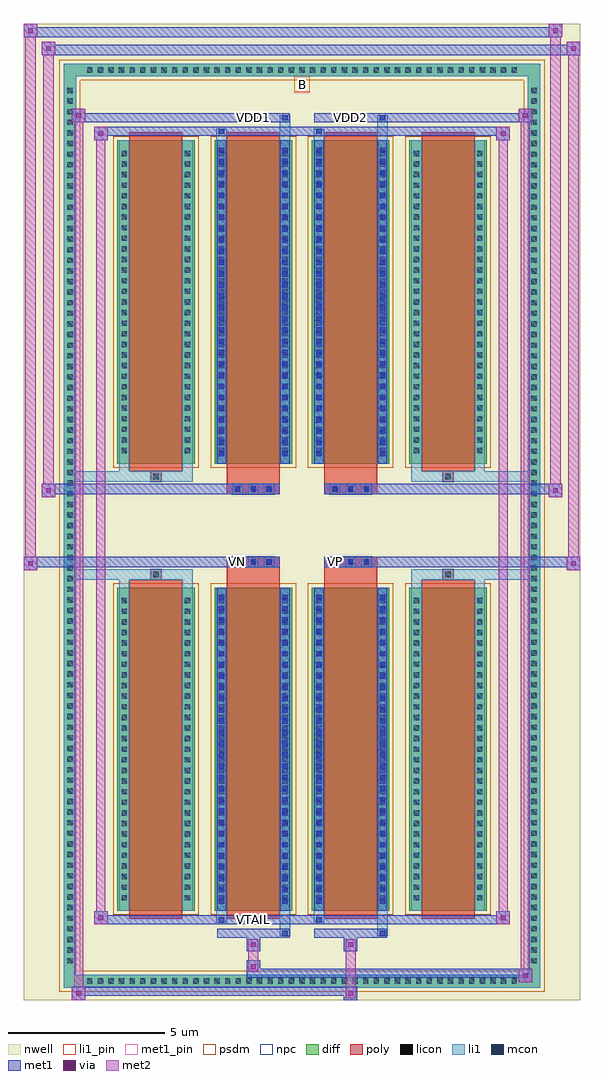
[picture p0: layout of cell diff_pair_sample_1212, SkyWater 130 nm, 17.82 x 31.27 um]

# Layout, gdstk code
import gdstk
lib = gdstk.Library(unit=1e-6, precision=5e-09)
def R(c, l, rs):  # rectangles x0, y0, x1, y1
    for r in rs: c.add(gdstk.rectangle(r[:2], r[2:], *l))
def A(c, l, x, y, w, h, nx, ny, dx, dy):  # array of equal rectangles
    R(c, l, [(x+i*dx, y+j*dy, x+i*dx+w, y+j*dy+h) for i in range(nx) for j in range(ny)])
def P(c, l, *ps):  # polygons
    for p in ps: c.add(gdstk.Polygon(p, *l))
nwell = (64, 20)
diff = (65, 20)
poly = (66, 20)
licon = (66, 44)
li1_pin = (67, 16)
li1 = (67, 20)
mcon = (67, 44)
met1_pin = (68, 16)
met1 = (68, 20)
via = (68, 44)
met2 = (69, 20)
psdm = (94, 20)
npc = (95, 20)

diff_pair_sample_1212 = lib.new_cell('diff_pair_sample_1212')
R(diff_pair_sample_1212, nwell, [(-8.91,-15.2,8.91,16.07), (-6.23,-13.39,-0.01,-0.805), (0.01,-13.39,6.23,-0.805), (-6.23,0.805,-0.01,13.39), (0.01,0.805,6.23,13.39)])
A(diff_pair_sample_1212, diff, -7.005, -14.8, 0.41, 0.41, 41, 2, 0.34, 29.19)
A(diff_pair_sample_1212, diff, -7.64, -14.145, 0.41, 0.41, 1, 83, 0, 0.34)
A(diff_pair_sample_1212, diff, 7.23, -14.145, 0.41, 0.41, 1, 83, 0, 0.34)
A(diff_pair_sample_1212, diff, -5.92, -12.345, 2.48, 10.36, 4, 2, 3.12, 14.33)
R(diff_pair_sample_1212, diff, [(-7.005,-14.8,7.005,-14.39), (-7.64,-14.145,-7.23,14.145), (7.23,-14.145,7.64,14.145), (-7.005,14.39,7.005,14.8)])
P(diff_pair_sample_1212, diff, [(7.64,14.8),(-7.64,14.8),(-7.64,-14.39),(-7.23,-14.39),(-7.23,14.39),(7.23,14.39),(7.23,-14.39),(-7.23,-14.39),(-7.64,-14.39),(-7.64,-14.8),(7.64,-14.8)])
A(diff_pair_sample_1212, poly, -5.53, -12.595, 1.7, 10.86, 4, 2, 3.12, 14.33)
A(diff_pair_sample_1212, poly, -2.225, -1.335, 0.33, 0.33, 3, 2, 0.5, 2.34)
A(diff_pair_sample_1212, poly, 0.895, -1.335, 0.33, 0.33, 3, 2, 0.5, 2.34)
R(diff_pair_sample_1212, poly, [(-4.845,-1.735,-4.515,-1.405), (-4.845,-1.735,-4.515,-1.405), (-2.41,-1.735,-0.71,-1.335), (0.71,-1.735,2.41,-1.335), (4.515,-1.735,4.845,-1.405), (4.515,-1.735,4.845,-1.405), (-2.41,-1.335,-0.71,-1.005), (0.71,-1.335,2.41,-1.005), (-2.41,1.005,-0.71,1.335), (0.71,1.005,2.41,1.335), (-2.41,1.335,-0.71,1.735), (0.71,1.335,2.41,1.735), (-4.845,1.405,-4.515,1.735), (-4.845,1.405,-4.515,1.735), (4.515,1.405,4.845,1.735), (4.515,1.405,4.845,1.735)])
A(diff_pair_sample_1212, licon, -6.885, -14.68, 0.17, 0.17, 41, 2, 0.34, 29.19)
A(diff_pair_sample_1212, licon, -7.52, -14.025, 0.17, 0.17, 1, 83, 0, 0.34)
A(diff_pair_sample_1212, licon, 7.35, -14.025, 0.17, 0.17, 1, 83, 0, 0.34)
A(diff_pair_sample_1212, licon, -5.78, -12.01, 0.17, 0.17, 1, 29, 0, 0.34)
A(diff_pair_sample_1212, licon, -3.75, -12.01, 0.17, 0.17, 1, 29, 0, 0.34)
A(diff_pair_sample_1212, licon, -2.66, -12.01, 0.17, 0.17, 1, 29, 0, 0.34)
A(diff_pair_sample_1212, licon, -0.63, -12.01, 0.17, 0.17, 1, 29, 0, 0.34)
A(diff_pair_sample_1212, licon, 0.46, -12.01, 0.17, 0.17, 1, 29, 0, 0.34)
A(diff_pair_sample_1212, licon, 2.49, -12.01, 0.17, 0.17, 1, 29, 0, 0.34)
A(diff_pair_sample_1212, licon, 3.58, -12.01, 0.17, 0.17, 1, 29, 0, 0.34)
A(diff_pair_sample_1212, licon, 5.61, -12.01, 0.17, 0.17, 1, 29, 0, 0.34)
A(diff_pair_sample_1212, licon, -2.145, -1.255, 0.17, 0.17, 3, 2, 0.5, 2.34)
A(diff_pair_sample_1212, licon, 0.975, -1.255, 0.17, 0.17, 3, 2, 0.5, 2.34)
A(diff_pair_sample_1212, licon, -5.78, 2.32, 0.17, 0.17, 1, 29, 0, 0.34)
A(diff_pair_sample_1212, licon, -3.75, 2.32, 0.17, 0.17, 1, 29, 0, 0.34)
A(diff_pair_sample_1212, licon, -2.66, 2.32, 0.17, 0.17, 1, 29, 0, 0.34)
A(diff_pair_sample_1212, licon, -0.63, 2.32, 0.17, 0.17, 1, 29, 0, 0.34)
A(diff_pair_sample_1212, licon, 0.46, 2.32, 0.17, 0.17, 1, 29, 0, 0.34)
A(diff_pair_sample_1212, licon, 2.49, 2.32, 0.17, 0.17, 1, 29, 0, 0.34)
A(diff_pair_sample_1212, licon, 3.58, 2.32, 0.17, 0.17, 1, 29, 0, 0.34)
A(diff_pair_sample_1212, licon, 5.61, 2.32, 0.17, 0.17, 1, 29, 0, 0.34)
R(diff_pair_sample_1212, licon, [(-4.765,-1.655,-4.595,-1.485), (4.595,-1.655,4.765,-1.485), (-4.765,1.485,-4.595,1.655), (4.595,1.485,4.765,1.655)])
R(diff_pair_sample_1212, li1_pin, [(-0.25,13.89,0.25,14.39)])
A(diff_pair_sample_1212, li1, -6.965, -14.76, 0.33, 0.33, 41, 2, 0.34, 29.19)
A(diff_pair_sample_1212, li1, -7.6, -14.105, 0.33, 0.33, 1, 83, 0, 0.34)
A(diff_pair_sample_1212, li1, 7.27, -14.105, 0.33, 0.33, 1, 83, 0, 0.34)
A(diff_pair_sample_1212, li1, -2.66, -12.11, 0.17, 0.17, 1, 28, 0, 0.36)
A(diff_pair_sample_1212, li1, -0.63, -12.11, 0.17, 0.17, 1, 28, 0, 0.36)
A(diff_pair_sample_1212, li1, 0.46, -12.11, 0.17, 0.17, 1, 28, 0, 0.36)
A(diff_pair_sample_1212, li1, 2.49, -12.11, 0.17, 0.17, 1, 28, 0, 0.36)
A(diff_pair_sample_1212, li1, -5.86, -12.09, 0.33, 0.33, 1, 29, 0, 0.34)
A(diff_pair_sample_1212, li1, -3.83, -12.09, 0.33, 0.33, 1, 29, 0, 0.34)
A(diff_pair_sample_1212, li1, -2.74, -12.09, 0.33, 0.33, 1, 29, 0, 0.34)
A(diff_pair_sample_1212, li1, -0.71, -12.09, 0.33, 0.33, 1, 29, 0, 0.34)
A(diff_pair_sample_1212, li1, 0.38, -12.09, 0.33, 0.33, 1, 29, 0, 0.34)
A(diff_pair_sample_1212, li1, 2.41, -12.09, 0.33, 0.33, 1, 29, 0, 0.34)
A(diff_pair_sample_1212, li1, 3.5, -12.09, 0.33, 0.33, 1, 29, 0, 0.34)
A(diff_pair_sample_1212, li1, 5.53, -12.09, 0.33, 0.33, 1, 29, 0, 0.34)
A(diff_pair_sample_1212, li1, -2.225, -1.335, 0.33, 0.33, 3, 2, 0.5, 2.34)
A(diff_pair_sample_1212, li1, 0.895, -1.335, 0.33, 0.33, 3, 2, 0.5, 2.34)
A(diff_pair_sample_1212, li1, -2.66, 2.22, 0.17, 0.17, 1, 28, 0, 0.36)
A(diff_pair_sample_1212, li1, -0.63, 2.22, 0.17, 0.17, 1, 28, 0, 0.36)
A(diff_pair_sample_1212, li1, 0.46, 2.22, 0.17, 0.17, 1, 28, 0, 0.36)
A(diff_pair_sample_1212, li1, 2.49, 2.22, 0.17, 0.17, 1, 28, 0, 0.36)
A(diff_pair_sample_1212, li1, -5.86, 2.24, 0.33, 0.33, 1, 29, 0, 0.34)
A(diff_pair_sample_1212, li1, -3.83, 2.24, 0.33, 0.33, 1, 29, 0, 0.34)
A(diff_pair_sample_1212, li1, -2.74, 2.24, 0.33, 0.33, 1, 29, 0, 0.34)
A(diff_pair_sample_1212, li1, -0.71, 2.24, 0.33, 0.33, 1, 29, 0, 0.34)
A(diff_pair_sample_1212, li1, 0.38, 2.24, 0.33, 0.33, 1, 29, 0, 0.34)
A(diff_pair_sample_1212, li1, 2.41, 2.24, 0.33, 0.33, 1, 29, 0, 0.34)
A(diff_pair_sample_1212, li1, 3.5, 2.24, 0.33, 0.33, 1, 29, 0, 0.34)
A(diff_pair_sample_1212, li1, 5.53, 2.24, 0.33, 0.33, 1, 29, 0, 0.34)
R(diff_pair_sample_1212, li1, [(-7.64,-14.8,-7.23,-14.39), (-7.64,-14.8,-7.23,-14.39), (-7.23,-14.8,7.23,-14.39), (7.23,-14.8,7.64,-14.39), (7.23,-14.8,7.64,-14.39), (-7.64,-14.39,-7.23,14.39), (7.23,-14.39,7.64,14.39), (-0.71,-13.15,-0.38,-12.345), (-0.63,-13.15,-0.46,-12.98), (2.41,-13.15,2.74,-12.345), (2.49,-13.15,2.66,-12.98), (-2.74,-12.72,-2.41,-12.345), (-2.66,-12.72,-2.49,-12.55), (0.38,-12.72,0.71,-12.345), (0.46,-12.72,0.63,-12.55), (-5.86,-12.345,-5.53,-1.985), (-3.83,-12.345,-3.5,-1.985), (-2.74,-12.345,-2.41,-1.985), (-0.71,-12.345,-0.38,-1.985), (0.38,-12.345,0.71,-1.985), (2.41,-12.345,2.74,-1.985), (3.5,-12.345,3.83,-1.985), (5.53,-12.345,5.86,-1.985), (-2.66,-12.11,-2.49,-2.22), (-0.63,-12.11,-0.46,-2.22), (0.46,-12.11,0.63,-2.22), (2.49,-12.11,2.66,-2.22), (-5.86,-1.985,-5.53,-1.405), (-3.83,-1.985,-3.5,-1.405), (3.5,-1.985,3.83,-1.405), (5.53,-1.985,5.86,-1.405), (-7.64,-1.735,-4.845,-1.405), (-5.86,-1.735,-4.845,-1.405), (-4.845,-1.735,-4.515,-1.405), (-4.515,-1.735,-3.5,-1.405), (3.5,-1.735,4.515,-1.405), (4.515,-1.735,4.845,-1.405), (4.515,-1.735,7.64,-1.405), (4.845,-1.735,5.86,-1.405), (-7.64,1.405,-4.845,1.735), (-5.86,1.405,-4.845,1.735), (-5.86,1.405,-5.53,1.985), (-4.845,1.405,-4.515,1.735), (-4.515,1.405,-3.5,1.735), (-3.83,1.405,-3.5,1.985), (3.5,1.405,4.515,1.735), (3.5,1.405,3.83,1.985), (4.515,1.405,4.845,1.735), (4.515,1.405,7.64,1.735), (4.845,1.405,5.86,1.735), (5.53,1.405,5.86,1.985), (-5.86,1.985,-5.53,12.345), (-3.83,1.985,-3.5,12.345), (-2.74,1.985,-2.41,12.345), (-0.71,1.985,-0.38,12.345), (0.38,1.985,0.71,12.345), (2.41,1.985,2.74,12.345), (3.5,1.985,3.83,12.345), (5.53,1.985,5.86,12.345), (-2.66,2.22,-2.49,12.11), (-0.63,2.22,-0.46,12.11), (0.46,2.22,0.63,12.11), (2.49,2.22,2.66,12.11), (-2.74,12.345,-2.41,12.72), (-0.71,12.345,-0.38,13.15), (0.38,12.345,0.71,12.72), (2.41,12.345,2.74,13.15), (-2.66,12.55,-2.49,12.72), (0.46,12.55,0.63,12.72), (-0.63,12.98,-0.46,13.15), (2.49,12.98,2.66,13.15), (-7.64,14.39,-7.23,14.8), (-7.64,14.39,-7.23,14.8), (-7.23,14.39,7.23,14.8), (7.23,14.39,7.64,14.8), (7.23,14.39,7.64,14.8)])
A(diff_pair_sample_1212, mcon, -2.66, -12.11, 0.17, 0.17, 1, 28, 0, 0.36)
A(diff_pair_sample_1212, mcon, -0.63, -12.11, 0.17, 0.17, 1, 28, 0, 0.36)
A(diff_pair_sample_1212, mcon, 0.46, -12.11, 0.17, 0.17, 1, 28, 0, 0.36)
A(diff_pair_sample_1212, mcon, 2.49, -12.11, 0.17, 0.17, 1, 28, 0, 0.36)
A(diff_pair_sample_1212, mcon, -2.145, -1.255, 0.17, 0.17, 3, 2, 0.5, 2.34)
A(diff_pair_sample_1212, mcon, 0.975, -1.255, 0.17, 0.17, 3, 2, 0.5, 2.34)
A(diff_pair_sample_1212, mcon, -2.66, 2.22, 0.17, 0.17, 1, 28, 0, 0.36)
A(diff_pair_sample_1212, mcon, -0.63, 2.22, 0.17, 0.17, 1, 28, 0, 0.36)
A(diff_pair_sample_1212, mcon, 0.46, 2.22, 0.17, 0.17, 1, 28, 0, 0.36)
A(diff_pair_sample_1212, mcon, 2.49, 2.22, 0.17, 0.17, 1, 28, 0, 0.36)
R(diff_pair_sample_1212, mcon, [(-0.63,-13.15,-0.46,-12.98), (2.49,-13.15,2.66,-12.98), (-2.66,-12.72,-2.49,-12.55), (0.46,-12.72,0.63,-12.55), (-2.66,12.55,-2.49,12.72), (0.46,12.55,0.63,12.72), (-0.63,12.98,-0.46,13.15), (2.49,12.98,2.66,13.15)])
R(diff_pair_sample_1212, met1_pin, [(-1.695,-12.76,-1.425,-12.49), (-2.195,-1.295,-1.925,-1.025), (0.925,-1.295,1.195,-1.025), (-1.695,12.94,-1.425,13.21), (1.425,12.94,1.695,13.21)])
A(diff_pair_sample_1212, met1, -2.72, -12.17, 0.29, 0.29, 1, 28, 0, 0.36)
A(diff_pair_sample_1212, met1, -0.69, -12.17, 0.29, 0.29, 1, 28, 0, 0.36)
A(diff_pair_sample_1212, met1, 0.4, -12.17, 0.29, 0.29, 1, 28, 0, 0.36)
A(diff_pair_sample_1212, met1, 2.43, -12.17, 0.29, 0.29, 1, 28, 0, 0.36)
A(diff_pair_sample_1212, met1, -2.205, -1.315, 0.29, 0.29, 3, 2, 0.5, 2.34)
A(diff_pair_sample_1212, met1, 0.915, -1.315, 0.29, 0.29, 3, 2, 0.5, 2.34)
A(diff_pair_sample_1212, met1, -2.72, 2.16, 0.29, 0.29, 1, 28, 0, 0.36)
A(diff_pair_sample_1212, met1, -0.69, 2.16, 0.29, 0.29, 1, 28, 0, 0.36)
A(diff_pair_sample_1212, met1, 0.4, 2.16, 0.29, 0.29, 1, 28, 0, 0.36)
A(diff_pair_sample_1212, met1, 2.43, 2.16, 0.29, 0.29, 1, 28, 0, 0.36)
R(diff_pair_sample_1212, met1, [(-7.37,-15.2,-6.94,-14.77), (1.345,-15.2,1.775,-14.77), (-7.37,-15.06,1.775,-14.77), (6.94,-14.63,7.37,-14.2), (-1.775,-14.49,7.37,-14.2), (-1.775,-14.35,-1.345,-13.92), (-1.775,-13.64,-1.345,-13.21), (1.345,-13.64,1.775,-13.21), (-2.72,-13.21,-0.4,-12.92), (-0.69,-13.21,-0.4,-12.92), (0.4,-13.21,2.72,-12.92), (2.43,-13.21,2.72,-12.92), (-6.66,-12.78,-6.23,-12.35), (-6.66,-12.78,-2.72,-12.49), (-2.72,-12.78,-2.43,-12.49), (-2.72,-12.78,-0.4,-12.49), (-0.4,-12.78,0.4,-12.49), (0.4,-12.78,0.69,-12.49), (0.4,-12.78,2.72,-12.49), (2.72,-12.78,6.66,-12.49), (6.23,-12.78,6.66,-12.35), (-2.72,-12.345,-2.43,-1.985), (-0.69,-12.345,-0.4,-1.985), (0.4,-12.345,0.69,-1.985), (2.43,-12.345,2.72,-1.985), (-8.91,-1.435,-8.48,-1.005), (8.48,-1.435,8.91,-1.005), (-8.91,-1.335,-0.71,-1.005), (-2.41,-1.335,-0.71,-1.005), (0.71,-1.335,2.41,-1.005), (0.71,-1.335,8.91,-1.005), (-8.34,0.905,-7.91,1.335), (7.91,0.905,8.34,1.335), (-8.34,1.005,-2.41,1.335), (-2.41,1.005,-0.71,1.335), (0.71,1.005,2.41,1.335), (2.41,1.005,8.34,1.335), (-2.72,1.985,-2.43,12.345), (-0.69,1.985,-0.4,12.345), (0.4,1.985,0.69,12.345), (2.43,1.985,2.72,12.345), (-6.66,12.35,-6.23,12.78), (6.23,12.35,6.66,12.78), (-6.66,12.49,-2.72,12.78), (-2.72,12.49,-2.43,12.78), (-2.72,12.49,-0.4,12.78), (-0.4,12.49,0.4,12.78), (0.4,12.49,0.69,12.78), (0.4,12.49,2.72,12.78), (2.72,12.49,6.66,12.78), (-7.37,12.92,-6.94,13.35), (-7.37,12.92,-2.72,13.21), (-2.72,12.92,-0.4,13.21), (-0.69,12.92,-0.4,13.21), (0.4,12.92,2.72,13.21), (2.43,12.92,2.72,13.21), (2.72,12.92,7.37,13.21), (6.94,12.92,7.37,13.35), (-8.34,15.07,-7.91,15.5), (-8.34,15.07,-6.23,15.4), (-6.23,15.07,6.23,15.4), (6.23,15.07,8.91,15.4), (8.48,15.07,8.91,15.5), (-8.91,15.64,-8.48,16.07), (-8.91,15.64,-6.23,15.97), (-6.23,15.64,6.23,15.97), (6.23,15.64,8.34,15.97), (7.91,15.64,8.34,16.07)])
R(diff_pair_sample_1212, via, [(-7.23,-15.06,-7.08,-14.91), (1.485,-15.06,1.635,-14.91), (7.08,-14.49,7.23,-14.34), (-1.635,-14.21,-1.485,-14.06), (-1.635,-13.5,-1.485,-13.35), (1.485,-13.5,1.635,-13.35), (-6.52,-12.64,-6.37,-12.49), (6.37,-12.64,6.52,-12.49), (-8.77,-1.295,-8.62,-1.145), (8.62,-1.295,8.77,-1.145), (-8.2,1.045,-8.05,1.195), (8.05,1.045,8.2,1.195), (-6.52,12.49,-6.37,12.64), (6.37,12.49,6.52,12.64), (-7.23,13.06,-7.08,13.21), (7.08,13.06,7.23,13.21), (-8.2,15.21,-8.05,15.36), (8.62,15.21,8.77,15.36), (-8.77,15.78,-8.62,15.93), (8.05,15.78,8.2,15.93)])
R(diff_pair_sample_1212, met2, [(-7.37,-15.2,-6.94,-14.77), (-7.3,-15.2,-7.01,13.35), (-7.01,-15.2,-6.94,-14.77), (-7.32,-15.15,-6.99,-14.82), (1.395,-15.15,1.725,-14.82), (1.395,-14.82,1.725,-13.59), (6.94,-14.63,7.37,-14.2), (7.01,-14.63,7.3,13.35), (7.3,-14.63,7.37,-14.2), (6.99,-14.58,7.32,-14.25), (-1.725,-14.3,-1.395,-13.97), (-1.725,-13.97,-1.395,-13.59), (-1.725,-13.59,-1.395,-13.26), (1.395,-13.59,1.725,-13.26), (-6.66,-12.78,-6.23,-12.35), (-6.59,-12.78,-6.3,12.78), (-6.3,-12.78,-6.23,-12.35), (6.23,-12.78,6.66,-12.35), (6.3,-12.78,6.59,12.78), (6.59,-12.78,6.66,-12.35), (-6.61,-12.73,-6.28,-12.4), (6.28,-12.73,6.61,-12.4), (-8.91,-1.435,-8.48,-1.005), (-8.86,-1.435,-8.53,16.07), (-8.53,-1.435,-8.48,-1.005), (8.48,-1.435,8.91,-1.005), (8.53,-1.435,8.86,15.5), (8.86,-1.435,8.91,-1.005), (-8.86,-1.385,-8.53,-1.055), (8.53,-1.385,8.86,-1.055), (-8.34,0.905,-7.91,1.335), (-8.29,0.905,-7.96,15.5), (-7.96,0.905,-7.91,1.335), (7.91,0.905,8.34,1.335), (7.96,0.905,8.29,16.07), (8.29,0.905,8.34,1.335), (-8.29,0.955,-7.96,1.285), (7.96,0.955,8.29,1.285), (-6.66,12.35,-6.23,12.78), (-6.3,12.35,-6.23,12.78), (6.23,12.35,6.66,12.78), (6.59,12.35,6.66,12.78), (-6.61,12.4,-6.28,12.73), (6.28,12.4,6.61,12.73), (-7.37,12.92,-6.94,13.35), (-7.01,12.92,-6.94,13.35), (6.94,12.92,7.37,13.35), (7.3,12.92,7.37,13.35), (-7.32,12.97,-6.99,13.3), (6.99,12.97,7.32,13.3), (-8.34,15.07,-7.91,15.5), (-7.96,15.07,-7.91,15.5), (8.48,15.07,8.91,15.5), (8.86,15.07,8.91,15.5), (-8.29,15.12,-7.96,15.45), (8.53,15.12,8.86,15.45), (-8.91,15.64,-8.48,16.07), (-8.53,15.64,-8.48,16.07), (7.91,15.64,8.34,16.07), (8.29,15.64,8.34,16.07), (-8.86,15.69,-8.53,16.02), (7.96,15.69,8.29,16.02)])
A(diff_pair_sample_1212, psdm, -6.05, -12.475, 2.74, 10.62, 4, 2, 3.12, 14.33)
P(diff_pair_sample_1212, psdm, [(7.77,14.93),(-7.77,14.93),(-7.77,-14.26),(-7.1,-14.26),(-7.1,14.26),(7.1,14.26),(7.1,-14.26),(-7.1,-14.26),(-7.77,-14.26),(-7.77,-14.93),(7.77,-14.93)])
A(diff_pair_sample_1212, npc, -2.245, -1.355, 0.37, 0.37, 3, 2, 0.5, 2.34)
A(diff_pair_sample_1212, npc, 0.875, -1.355, 0.37, 0.37, 3, 2, 0.5, 2.34)
R(diff_pair_sample_1212, npc, [(-4.865,-1.755,-4.495,-1.385), (4.495,-1.755,4.865,-1.385), (-2.245,-1.355,-1.375,-0.985), (-2.245,-1.355,-1.375,-0.985), (-1.745,-1.355,-0.875,-0.985), (-1.745,-1.355,-0.875,-0.985), (0.875,-1.355,1.745,-0.985), (0.875,-1.355,1.745,-0.985), (1.375,-1.355,2.245,-0.985), (1.375,-1.355,2.245,-0.985), (-2.245,0.985,-1.375,1.355), (-2.245,0.985,-1.375,1.355), (-1.745,0.985,-0.875,1.355), (-1.745,0.985,-0.875,1.355), (0.875,0.985,1.745,1.355), (0.875,0.985,1.745,1.355), (1.375,0.985,2.245,1.355), (1.375,0.985,2.245,1.355), (-4.865,1.385,-4.495,1.755), (4.495,1.385,4.865,1.755)])
diff_pair_sample_1212.add(gdstk.Label('VTAIL', (-1.56,-12.625), layer=68, texttype=5))
diff_pair_sample_1212.add(gdstk.Label('VN', (-2.06,-1.16), layer=68, texttype=5))
diff_pair_sample_1212.add(gdstk.Label('VP', (1.06,-1.16), layer=68, texttype=5))
diff_pair_sample_1212.add(gdstk.Label('B', (0,14.14), layer=67, texttype=5))
diff_pair_sample_1212.add(gdstk.Label('VDD2', (1.56,13.075), layer=68, texttype=5))
diff_pair_sample_1212.add(gdstk.Label('VDD1', (-1.56,13.075), layer=68, texttype=5))

lib.write_gds('diff_pair_sample_1212.gds')
